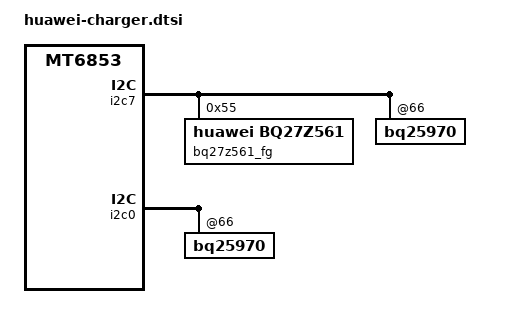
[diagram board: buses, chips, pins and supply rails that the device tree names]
#include "../huawei_charger/mt6853_ang_huawei_charger.dtsi"

&i2c7 {
	rt9426_battery@55{
		status = "disabled";
	};
	bq27z561_fg@55 {
		reg = <0x55>;
		compatible = "huawei,bq27z561";
		status = "ok";
	};
	bq25970@65 {
		status = "disabled";
	};
	bq25970@66 {
		i2c_recovery_addr = <0x65>;
		status = "ok";
	};
};

&i2c0 {
	bq25970@65 {
		status = "disabled";
	};
	bq25970@66 {
		i2c_recovery_addr = <0x65>;
		status = "ok";
	};
};

&multi_btb_temp {
	sensor-names =
		"mtk_batt_temp", "comp_para",
		"bq_battery", "comp_para1";
};
